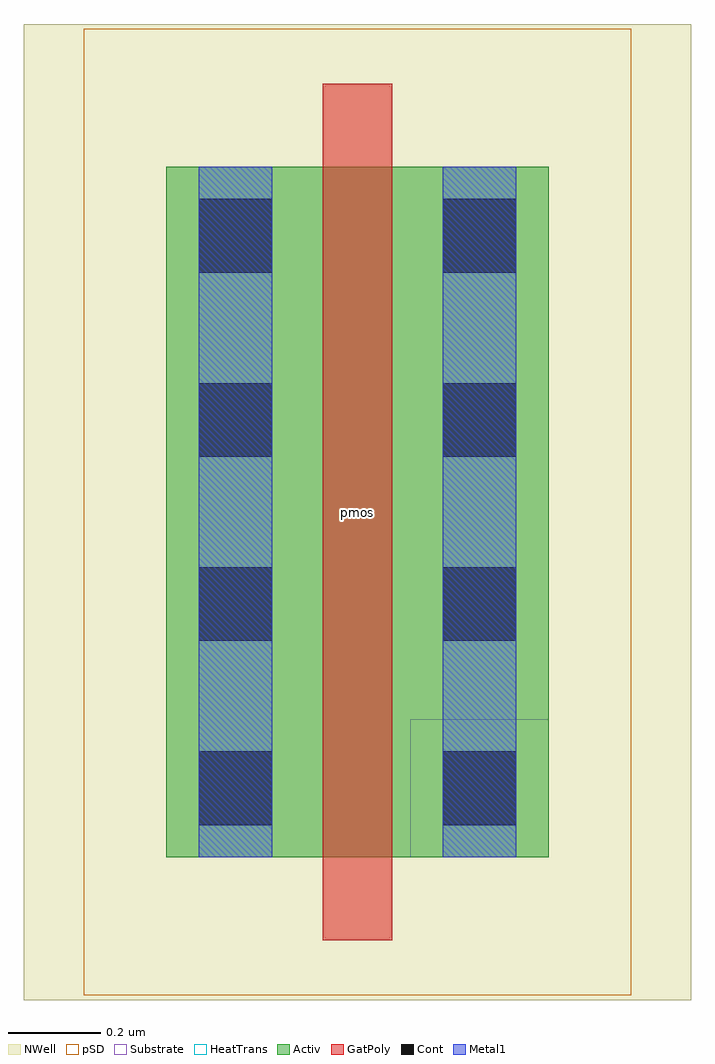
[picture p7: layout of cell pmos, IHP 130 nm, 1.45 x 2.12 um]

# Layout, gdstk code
import gdstk
lib = gdstk.Library(unit=1e-6, precision=1e-09)
def R(c, l, rs):  # rectangles x0, y0, x1, y1
    for r in rs: c.add(gdstk.rectangle(r[:2], r[2:], *l))
def A(c, l, x, y, w, h, nx, ny, dx, dy):  # array of equal rectangles
    R(c, l, [(x+i*dx, y+j*dy, x+i*dx+w, y+j*dy+h) for i in range(nx) for j in range(ny)])
Activ = (1, 0)
GatPoly = (5, 0)
Cont = (6, 0)
Metal1 = (8, 0)
pSD = (14, 0)
NWell = (31, 0)
Substrate = (40, 0)
HeatTrans = (51, 0)

pmos = lib.new_cell('pmos')
R(pmos, Activ, [(0,0,0.3,0.3), (0,0,0.83,1.5), (0.53,0,0.83,0.3)])
R(pmos, GatPoly, [(0.34,-0.18,0.49,1.68), (0.34,-0.18,0.49,1.68)])
A(pmos, Cont, 0.07, 0.07, 0.16, 0.16, 1, 4, 0, 0.4)
A(pmos, Cont, 0.6, 0.07, 0.16, 0.16, 1, 4, 0, 0.4)
R(pmos, Metal1, [(0.07,0,0.23,1.5), (0.07,0,0.23,1.5), (0.6,0,0.76,1.5), (0.6,0,0.76,1.5)])
R(pmos, pSD, [(-0.18,-0.3,1.01,1.8)])
R(pmos, NWell, [(-0.31,-0.31,1.14,1.81)])
R(pmos, Substrate, [(0.53,0,0.83,0.3)])
R(pmos, HeatTrans, [(0.34,-0.18,0.49,1.68)])
pmos.add(gdstk.Label('pmos', (0.415,0.75), layer=63, texttype=0))
pmos.add(gdstk.Label('pmos', (0.415,0.75), layer=51, texttype=0))

lib.write_gds('pmos.gds')
